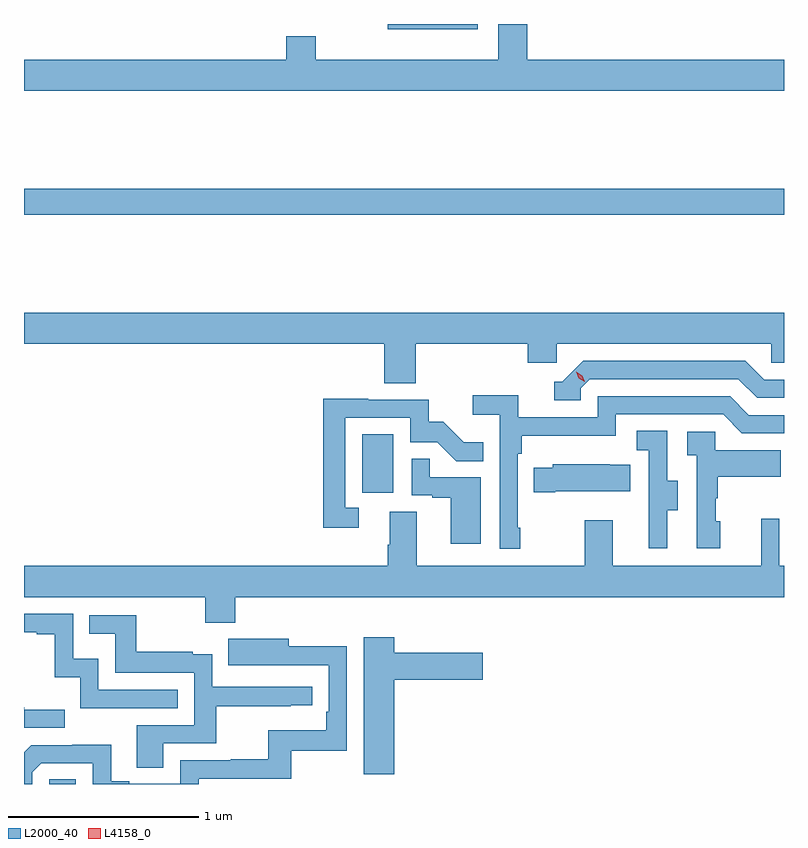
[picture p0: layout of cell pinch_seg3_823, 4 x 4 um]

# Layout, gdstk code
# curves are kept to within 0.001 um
import gdstk
lib = gdstk.Library(unit=1e-6, precision=1e-09)
def R(c, l, rs):  # rectangles x0, y0, x1, y1
    for r in rs: c.add(gdstk.rectangle(r[:2], r[2:], *l))
def P(c, l, *ps):  # polygons
    for p in ps: c.add(gdstk.Polygon(p, *l))
L2000_40 = (2000, 40)
L4158_0 = (4158, 0)

pinch_seg3_823 = lib.new_cell('pinch_seg3_823')
R(pinch_seg3_823, L2000_40, [(854.982,717.248,855.121,717.272), (856.628,718.782,856.792,719.089), (854.849,720.244,858.849,720.38), (856.763,721.22,857.236,721.248)])
P(pinch_seg3_823, L2000_40, [(858.849,721.06),(857.498,721.06),(857.498,721.248),(857.345,721.248),(857.345,721.06),(856.385,721.06),(856.385,721.184),(856.229,721.184),(856.229,721.06),(854.849,721.06),(854.849,720.896),(858.849,720.896)],
  [(856.91,719.564),(857.501,719.564),(857.501,719.466),(857.652,719.466),(857.652,719.564),(858.783,719.564),(858.783,719.466),(858.849,719.466),(858.849,719.728),(854.849,719.728),(854.849,719.564),(856.745,719.564),(856.745,719.356),(856.91,719.356)],
  [(857.778,719.331),(857.826,719.379),(858.609,719.379),(858.708,719.28),(858.849,719.28),(858.849,719.376),(858.745,719.376),(858.646,719.475),(857.793,719.475),(857.682,719.364),(857.639,719.364),(857.639,719.268),(857.778,719.268)],
  [(857.461,718.597),(857.448,718.597),(857.448,718.985),(857.468,718.985),(857.468,719.081),(857.964,719.081),(857.964,719.193),(858.528,719.193),(858.627,719.094),(858.849,719.094),(858.849,719.19),(858.664,719.19),(858.565,719.289),(857.868,719.289),(857.868,719.178),(857.45,719.178),(857.45,719.294),(857.211,719.294),(857.211,719.192),(857.352,719.192),(857.352,718.485),(857.461,718.485)],
  [(856.612,718.701),(856.539,718.701),(856.539,719.175),(856.881,719.175),(856.881,719.046),(857.025,719.046),(857.123,718.948),(857.267,718.948),(857.267,719.047),(857.163,719.047),(857.056,719.154),(856.98,719.154),(856.98,719.271),(856.661,719.271),(856.661,719.276),(856.423,719.276),(856.423,718.596),(856.612,718.596)],
  [(858.235,718.69),(858.289,718.69),(858.289,718.845),(858.234,718.845),(858.234,719.108),(858.075,719.108),(858.075,719.005),(858.138,719.005),(858.138,718.701),(858.137,718.701),(858.137,718.488),(858.235,718.488)],
  [(858.514,718.632),(858.489,718.632),(858.489,718.751),(858.499,718.751),(858.499,718.865),(858.833,718.865),(858.833,719.005),(858.486,719.005),(858.486,719.103),(858.339,719.103),(858.339,718.979),(858.39,718.979),(858.39,718.488),(858.514,718.488)],
  [(857.254,718.863),(856.985,718.863),(856.985,718.961),(856.89,718.961),(856.89,718.767),(856.997,718.767),(856.997,718.755),(857.096,718.755),(857.096,718.512),(857.254,718.512)],
  [(857.644,718.79),(858.041,718.79),(858.041,718.927),(857.933,718.927),(857.933,718.93),(857.631,718.93),(857.631,718.912),(857.533,718.912),(857.533,718.783),(857.644,718.783)],
  [(855.962,718.232),(858.849,718.232),(858.849,718.396),(858.825,718.396),(858.825,718.645),(858.728,718.645),(858.728,718.396),(857.947,718.396),(857.947,718.636),(857.8,718.636),(857.8,718.396),(856.915,718.396),(856.915,718.682),(856.775,718.682),(856.775,718.508),(856.763,718.508),(856.763,718.396),(854.849,718.396),(854.849,718.232),(855.802,718.232),(855.802,718.097),(855.962,718.097)],
  [(855.659,717.744),(855.24,717.744),(855.24,717.907),(855.108,717.907),(855.108,718.143),(854.849,718.143),(854.849,718.047),(854.915,718.047),(854.915,718.035),(855.011,718.035),(855.011,717.809),(855.144,717.809),(855.144,717.648),(855.659,717.648)],
  [(855.583,717.462),(855.86,717.462),(855.86,717.658),(856.253,717.658),(856.253,717.663),(856.366,717.663),(856.366,717.759),(855.84,717.759),(855.84,717.931),(855.737,717.931),(855.737,717.943),(855.439,717.943),(855.439,718.137),(855.193,718.137),(855.193,718.04),(855.328,718.04),(855.328,717.834),(855.744,717.834),(855.744,717.558),(855.443,717.558),(855.443,717.334),(855.583,717.334)],
  [(856.798,717.797),(857.263,717.797),(857.263,717.939),(856.798,717.939),(856.798,718.021),(856.637,718.021),(856.637,717.3),(856.798,717.3)],
  [(854.892,717.309),(854.94,717.357),(855.21,717.357),(855.21,717.248),(855.768,717.248),(855.768,717.276),(856.255,717.276),(856.255,717.423),(856.548,717.423),(856.548,717.974),(856.243,717.974),(856.243,718.012),(855.925,718.012),(855.925,717.872),(856.452,717.873),(856.452,717.628),(856.439,717.628),(856.439,717.532),(856.134,717.532),(856.134,717.377),(855.937,717.377),(855.937,717.372),(855.672,717.372),(855.672,717.249),(855.403,717.249),(855.403,717.262),(855.307,717.262),(855.307,717.455),(855.102,717.455),(855.102,717.453),(854.886,717.453),(854.849,717.416),(854.849,717.248),(854.892,717.248)],
  [(855.064,717.64),(854.851,717.64),(854.851,717.652),(854.849,717.652),(854.849,717.543),(855.064,717.543)])
P(pinch_seg3_823, L4158_0, [(857.801,719.364),(857.77,719.384),(857.755,719.417),(857.755,719.417),(857.755,719.417),(857.786,719.397),(857.801,719.365),(857.801,719.364)])

lib.write_gds('pinch_seg3_823.gds')
